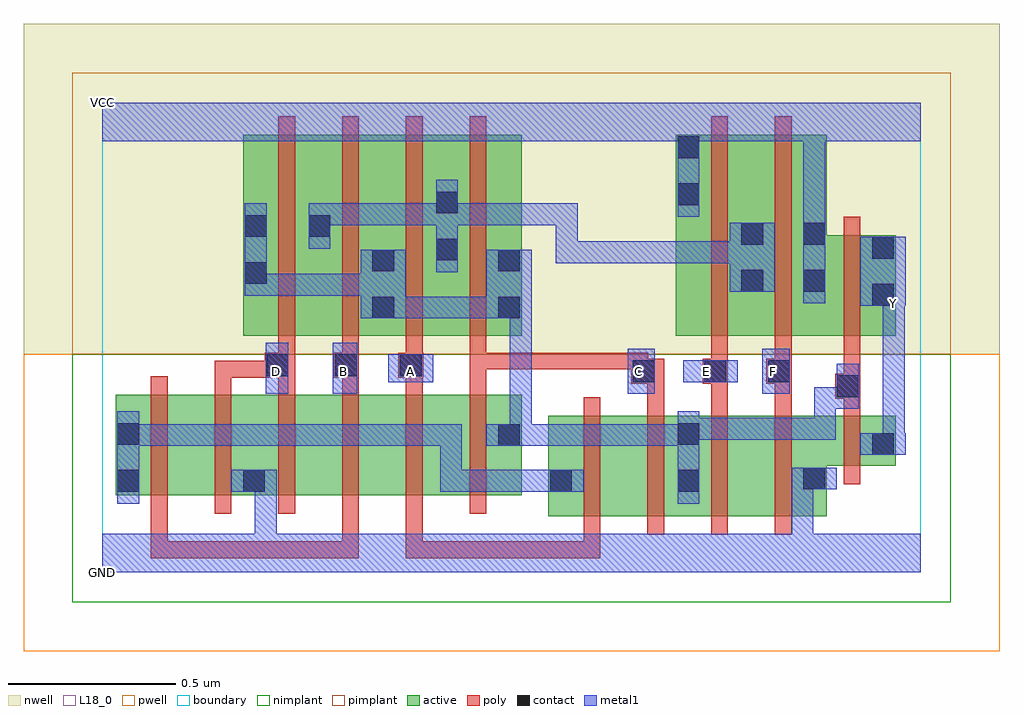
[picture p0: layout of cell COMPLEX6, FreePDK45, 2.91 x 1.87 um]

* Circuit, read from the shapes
.subckt COMPLEX6 A B C D E F GND VCC Y
M1 n1 B n2 VSUBS nfet w=0.3u l=0.05u
M2 GND D n1 VSUBS nfet w=0.3u l=0.05u
M3 n3 D GND VSUBS nfet w=0.3u l=0.05u
M4 n4 B n3 VSUBS nfet w=0.3u l=0.05u
M5 n5 A n4 VSUBS nfet w=0.3u l=0.05u
M6 n6 C n5 VSUBS nfet w=0.3u l=0.05u
M7 n7 A n2 VSUBS nfet w=0.3u l=0.05u
M8 n6 C n7 VSUBS nfet w=0.3u l=0.05u
M9 n8 E n6 VSUBS nfet w=0.3u l=0.05u
M10 GND F n8 VSUBS nfet w=0.3u l=0.05u
M11 Y n6 GND VSUBS nfet w=0.15u l=0.05u
M12 n9 D n6 n10 pfet w=0.6u l=0.05u
M13 n6 B n9 n10 pfet w=0.6u l=0.05u
M14 n9 A n6 n10 pfet w=0.6u l=0.05u
M15 n6 C n9 n10 pfet w=0.6u l=0.05u
M16 n9 E VCC n10 pfet w=0.6u l=0.05u
M17 VCC F n9 n10 pfet w=0.6u l=0.05u
M18 Y n6 VCC n10 pfet w=0.3u l=0.05u
.ends

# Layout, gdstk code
import gdstk
lib = gdstk.Library(unit=1e-6, precision=1e-09)
def R(c, l, rs):  # rectangles x0, y0, x1, y1
    for r in rs: c.add(gdstk.rectangle(r[:2], r[2:], *l))
def A(c, l, x, y, w, h, nx, ny, dx, dy):  # array of equal rectangles
    R(c, l, [(x+i*dx, y+j*dy, x+i*dx+w, y+j*dy+h) for i in range(nx) for j in range(ny)])
active = (1, 0)
pwell = (2, 0)
nwell = (3, 0)
nimplant = (4, 0)
pimplant = (5, 0)
poly = (9, 0)
contact = (10, 0)
metal1 = (11, 0)
L18_0 = (18, 0)
boundary = (235, 0)

complex6 = lib.new_cell('COMPLEX6')
A(complex6, active, 0.42, 0.705, 0.265, 0.6, 3, 1, 0.19, 0)
R(complex6, active, [(1.33,0.167,1.555,0.467), (1.555,0.167,1.785,0.467), (1.71,0.167,1.935,0.467), (1.935,0.167,2.16,0.467), (2.085,0.167,2.16,0.442), (1.33,0.2,1.405,0.467), (1.71,0.2,1.785,0.467), (0.04,0.23,0.265,0.53), (0.04,0.23,0.115,0.53), (0.265,0.23,0.49,0.53), (0.415,0.23,0.645,0.53), (0.415,0.23,0.49,0.517), (0.645,0.23,0.835,0.53), (0.835,0.23,1.025,0.53), (1.025,0.23,1.25,0.53), (1.175,0.295,1.25,0.53), (2.085,0.317,2.365,0.467), (2.29,0.317,2.365,0.467), (0.42,0.705,0.495,1.2), (0.99,0.705,1.25,1.305), (1.175,0.705,1.25,1.07), (1.71,0.705,1.785,1.305), (1.71,0.705,1.975,1.305), (1.9,0.705,2.16,1.305), (1.9,0.705,1.975,1.2), (2.085,0.705,2.365,1.005), (2.085,0.705,2.16,1.305), (2.29,0.705,2.365,1.005), (0.61,0.707,0.685,1.2), (0.8,0.707,0.875,1.07), (0.99,0.707,1.065,1.2)])
R(complex6, pwell, [(-0.235,-0.235,2.675,0.65)])
R(complex6, nwell, [(-0.235,0.65,2.675,1.635)])
R(complex6, nimplant, [(-0.09,-0.09,2.53,0.65)])
R(complex6, pimplant, [(-0.09,0.65,2.53,1.49)])
A(complex6, poly, 1.435, 0.112, 0.05, 0.41, 4, 1, 0.19, 0)
A(complex6, poly, 0.145, 0.175, 0.05, 0.41, 6, 1, 0.19, 0)
A(complex6, poly, 1.625, 0.472, 0.05, 0.14, 3, 1, 0.19, 0)
A(complex6, poly, 0.335, 0.535, 0.05, 0.095, 4, 1, 0.19, 0)
A(complex6, poly, 0.525, 0.605, 0.05, 0.095, 4, 1, 0.19, 0)
A(complex6, poly, 0.525, 0.65, 0.05, 0.71, 4, 1, 0.19, 0)
R(complex6, poly, [(0.145,0.042,0.195,0.092), (0.145,0.042,0.195,0.092), (0.145,0.042,0.195,0.092), (0.145,0.042,0.195,0.225), (0.145,0.042,0.402,0.092), (0.352,0.042,0.402,0.092), (0.352,0.042,0.402,0.092), (0.352,0.042,0.402,0.092), (0.352,0.042,0.607,0.092), (0.557,0.042,0.607,0.092), (0.557,0.042,0.765,0.092), (0.715,0.042,0.765,0.092), (0.715,0.042,0.765,0.092), (0.715,0.042,0.765,0.092), (0.715,0.042,0.765,0.225), (0.905,0.042,0.955,0.092), (0.905,0.042,0.955,0.092), (0.905,0.042,0.955,0.092), (0.905,0.042,1.145,0.092), (0.905,0.042,0.955,0.225), (1.095,0.042,1.145,0.092), (1.095,0.042,1.145,0.092), (1.095,0.042,1.145,0.092), (1.095,0.042,1.485,0.092), (1.435,0.042,1.485,0.092), (1.435,0.042,1.485,0.092), (1.435,0.042,1.485,0.092), (1.435,0.042,1.485,0.162), (2.21,0.262,2.26,0.522), (2.21,0.472,2.26,0.567), (2.185,0.517,2.26,0.592), (1.095,0.535,1.145,0.655), (2.21,0.542,2.26,0.7), (1.577,0.562,1.675,0.637), (1.79,0.562,1.865,0.637), (1.98,0.562,2.055,0.637), (0.335,0.58,0.385,0.63), (0.335,0.58,0.385,0.63), (0.335,0.58,0.385,0.63), (0.335,0.58,0.535,0.63), (0.485,0.58,0.575,0.655), (0.69,0.58,0.765,0.655), (0.882,0.58,0.957,0.655), (1.577,0.587,1.627,0.637), (1.577,0.587,1.627,0.655), (1.815,0.587,1.865,0.7), (2.005,0.587,2.055,0.7), (1.095,0.605,1.145,0.655), (1.095,0.605,1.277,0.655), (1.227,0.605,1.277,0.655), (1.227,0.605,1.277,0.655), (1.227,0.605,1.277,0.655), (1.227,0.605,1.495,0.655), (1.445,0.605,1.495,0.655), (1.445,0.605,1.627,0.655), (1.815,0.65,1.865,1.36), (2.005,0.65,2.055,1.36), (2.21,0.65,2.26,1.06)])
R(complex6, contact, [(0.045,0.24,0.11,0.305), (0.42,0.24,0.485,0.305), (1.335,0.24,1.4,0.305), (1.715,0.24,1.78,0.305), (2.09,0.247,2.155,0.312), (2.295,0.35,2.36,0.415), (1.18,0.377,1.245,0.442), (0.045,0.38,0.11,0.445), (1.715,0.38,1.78,0.445), (2.19,0.522,2.255,0.587), (1.582,0.567,1.647,0.632), (1.795,0.567,1.86,0.632), (1.985,0.567,2.05,0.632), (0.49,0.585,0.555,0.65), (0.695,0.585,0.76,0.65), (0.887,0.585,0.952,0.65), (0.805,0.757,0.87,0.822), (1.18,0.757,1.245,0.822), (2.295,0.795,2.36,0.86), (1.905,0.837,1.97,0.902), (2.09,0.837,2.155,0.902), (0.425,0.86,0.49,0.925), (0.805,0.897,0.87,0.962), (1.18,0.897,1.245,0.962), (0.995,0.93,1.06,0.995), (2.295,0.935,2.36,1), (1.905,0.977,1.97,1.042), (2.09,0.977,2.155,1.042), (0.425,1,0.49,1.065), (0.615,1,0.68,1.065), (0.995,1.07,1.06,1.135), (1.715,1.095,1.78,1.16), (1.715,1.235,1.78,1.3)])
R(complex6, metal1, [(0,0,2.44,0.115), (0.455,0.05,0.52,0.115), (0.455,0.05,0.52,0.115), (0.455,0.05,0.52,0.305), (2.055,0.05,2.12,0.115), (2.055,0.05,2.12,0.115), (2.055,0.05,2.12,0.115), (2.055,0.05,2.12,0.115), (2.055,0.05,2.12,0.312), (0.045,0.205,0.11,0.48), (1.715,0.205,1.78,0.48), (0.385,0.24,0.52,0.305), (0.455,0.24,0.52,0.305), (0.455,0.24,0.52,0.305), (1.007,0.24,1.072,0.305), (1.007,0.24,1.21,0.305), (1.007,0.24,1.072,0.442), (1.145,0.24,1.21,0.305), (1.145,0.24,1.21,0.305), (1.145,0.24,1.21,0.305), (1.145,0.24,1.365,0.305), (1.3,0.24,1.435,0.305), (2.055,0.247,2.19,0.312), (2.26,0.35,2.395,0.415), (2.327,0.35,2.392,0.797), (0.045,0.377,0.11,0.442), (0.045,0.377,0.11,0.442), (0.045,0.377,0.312,0.442), (0.247,0.377,0.312,0.442), (0.247,0.377,0.312,0.442), (0.247,0.377,0.312,0.442), (0.247,0.377,0.542,0.442), (0.477,0.377,0.542,0.442), (0.477,0.377,0.542,0.442), (0.477,0.377,0.542,0.442), (0.477,0.377,0.68,0.442), (0.615,0.377,0.68,0.442), (0.615,0.377,0.68,0.442), (0.615,0.377,0.68,0.442), (0.615,0.377,0.835,0.442), (0.77,0.377,0.835,0.442), (0.77,0.377,0.835,0.442), (0.77,0.377,0.835,0.442), (0.77,0.377,1.072,0.442), (1.007,0.377,1.072,0.442), (1.145,0.377,1.28,0.442), (1.215,0.377,1.28,0.442), (1.215,0.377,1.28,0.442), (1.215,0.377,1.435,0.442), (1.215,0.377,1.28,0.822), (1.37,0.377,1.435,0.442), (1.37,0.377,1.435,0.442), (1.37,0.377,1.435,0.442), (1.37,0.377,1.572,0.442), (1.507,0.377,1.572,0.442), (1.507,0.377,1.572,0.442), (1.507,0.377,1.572,0.442), (1.507,0.377,1.78,0.442), (1.715,0.395,1.78,0.46), (1.715,0.395,1.78,0.46), (1.715,0.395,1.982,0.46), (1.917,0.395,1.982,0.46), (1.917,0.395,1.982,0.46), (1.917,0.395,1.982,0.46), (1.917,0.395,2.187,0.46), (2.122,0.395,2.187,0.46), (2.122,0.395,2.187,0.552), (2.122,0.487,2.187,0.552), (2.122,0.487,2.255,0.552), (2.19,0.487,2.255,0.622), (0.487,0.532,0.555,0.685), (0.687,0.532,0.76,0.685), (1.567,0.532,1.647,0.667), (1.967,0.532,2.05,0.667), (0.852,0.567,0.987,0.65), (1.732,0.567,1.895,0.632), (2.327,0.732,2.392,0.867), (0.77,0.757,0.905,0.962), (0.84,0.757,1.072,0.822), (1.007,0.757,1.072,0.822), (1.007,0.757,1.072,0.822), (1.007,0.757,1.072,0.822), (1.007,0.757,1.21,0.822), (1.145,0.757,1.21,0.822), (1.145,0.757,1.21,0.822), (1.145,0.757,1.28,0.962), (2.26,0.795,2.395,1), (2.327,0.795,2.392,0.86), (2.09,0.802,2.155,1.077), (0.425,0.825,0.49,0.89), (0.425,0.825,0.49,0.89), (0.425,0.825,0.49,1.1), (0.425,0.825,0.697,0.89), (0.632,0.825,0.697,0.89), (0.632,0.825,0.697,0.89), (0.632,0.825,0.697,0.89), (0.632,0.825,0.835,0.89), (1.87,0.837,2.005,1.042), (0.995,0.895,1.06,1.17), (1.352,0.922,1.417,0.987), (1.352,0.922,1.417,0.987), (1.352,0.922,1.417,0.987), (1.352,0.922,1.572,0.987), (1.352,0.922,1.417,1.1), (1.507,0.922,1.572,0.987), (1.507,0.922,1.572,0.987), (1.507,0.922,1.572,0.987), (1.507,0.922,1.797,0.987), (1.732,0.922,1.797,0.987), (1.732,0.922,1.797,0.987), (1.732,0.922,1.797,0.987), (1.732,0.922,1.935,0.987), (0.615,0.965,0.68,1.1), (2.09,1.012,2.155,1.35), (0.615,1.035,0.68,1.1), (0.615,1.035,0.68,1.1), (0.615,1.035,0.922,1.1), (0.857,1.035,0.922,1.1), (0.857,1.035,0.922,1.1), (0.857,1.035,0.922,1.1), (0.857,1.035,1.06,1.1), (0.995,1.035,1.227,1.1), (1.162,1.035,1.227,1.1), (1.162,1.035,1.227,1.1), (1.162,1.035,1.227,1.1), (1.162,1.035,1.417,1.1), (1.352,1.035,1.417,1.1), (1.715,1.06,1.78,1.335), (1.715,1.27,1.78,1.35), (0,1.285,2.44,1.4)])
A(complex6, L18_0, 0.487, 0.567, 0.065, 0.065, 3, 1, 0.2, 0)
A(complex6, L18_0, 1.567, 0.567, 0.065, 0.065, 3, 1, 0.2, 0)
R(complex6, L18_0, [(0,0,2.44,0.115), (0.455,0.05,0.52,0.115), (0.455,0.05,0.52,0.115), (0.455,0.05,0.52,0.305), (2.055,0.05,2.12,0.115), (2.055,0.05,2.12,0.115), (2.055,0.05,2.12,0.115), (2.055,0.05,2.12,0.115), (2.055,0.05,2.12,0.312), (0.385,0.24,0.52,0.305), (0.455,0.24,0.52,0.305), (0.455,0.24,0.52,0.305), (2.055,0.247,2.19,0.312), (2.26,0.35,2.395,0.415), (2.327,0.35,2.392,0.797), (0.487,0.532,0.555,0.685), (0.687,0.532,0.76,0.685), (1.567,0.532,1.647,0.667), (1.967,0.532,2.05,0.667), (0.852,0.567,0.987,0.65), (1.732,0.567,1.895,0.632), (2.327,0.732,2.392,0.867), (2.327,0.767,2.392,0.832), (2.26,0.795,2.395,1), (2.327,0.795,2.392,0.86), (2.09,0.802,2.155,1.077), (2.09,1.012,2.155,1.35), (1.715,1.06,1.78,1.335), (1.715,1.27,1.78,1.35), (0,1.285,2.44,1.4)])
R(complex6, boundary, [(0,0,2.44,1.4)])
complex6.add(gdstk.Label('A', (0.92,0.6), layer=11, texttype=0))
complex6.add(gdstk.Label('B', (0.72,0.6), layer=11, texttype=0))
complex6.add(gdstk.Label('C', (1.6,0.6), layer=11, texttype=0))
complex6.add(gdstk.Label('D', (0.52,0.6), layer=11, texttype=0))
complex6.add(gdstk.Label('E', (1.8,0.6), layer=11, texttype=0))
complex6.add(gdstk.Label('F', (2,0.6), layer=11, texttype=0))
complex6.add(gdstk.Label('Y', (2.36,0.8), layer=11, texttype=0))
complex6.add(gdstk.Label('VCC', (0,1.4), layer=11, texttype=0))
complex6.add(gdstk.Label('GND', (0,0), layer=11, texttype=0))

lib.write_gds('COMPLEX6.gds')
